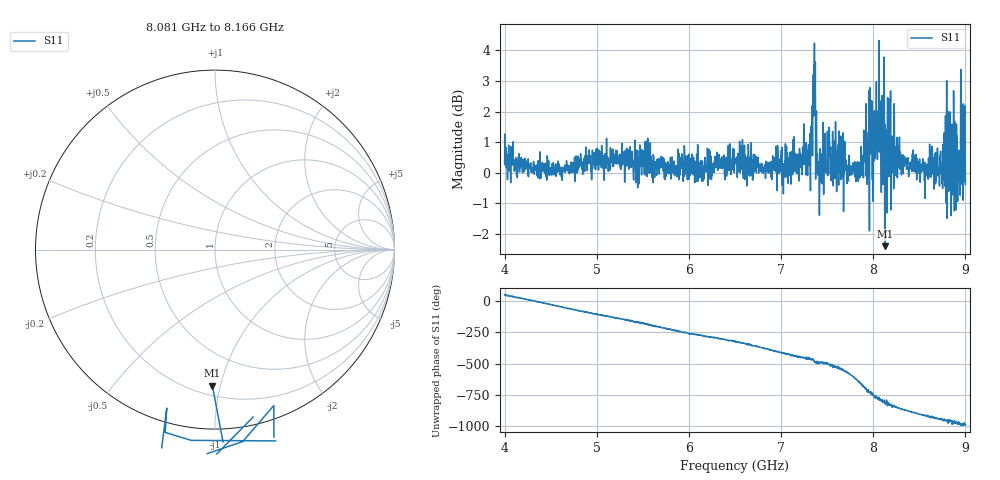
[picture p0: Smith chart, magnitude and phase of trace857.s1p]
! Created with skrf 1.8.0 (http://scikit-rf.org).
# Hz S RI R 50.0
!freq ReS11 ImS11
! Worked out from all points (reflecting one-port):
!   1601 points, 4 GHz to 9 GHz, reference 50 ohm
!   lowest |S11| = -2.4 dB at 8.125 GHz (marker M1), VSWR 7.26, Z = 13.3 - j47.3 ohm
!   phase of S11 starts at 54 deg and turns -1046 deg over the sweep
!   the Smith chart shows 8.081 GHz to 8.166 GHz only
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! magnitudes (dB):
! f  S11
! 4 GHz  0.3
! 4.625 GHz  -0.3
! 5.25 GHz  0.4
! 5.875 GHz  0.2
! 6.5 GHz  0.4
! 7.125 GHz  -0.1
! 7.294 GHz  0.7
! 7.316 GHz  0.4
! 7.347 GHz  2.6
! 7.359 GHz  3.2
! 7.372 GHz  3.6
! 7.4 GHz  -0.1
! 7.425 GHz  0.8
! 7.512 GHz  1.1
! 7.609 GHz  0.7
! 7.65 GHz  1.2
! 7.75 GHz  0.2
! 7.869 GHz  0.9
! 8.056 GHz  1.0
! 8.125 GHz  -2.4
! 8.162 GHz  1.3
! 8.197 GHz  0.8
! 8.375 GHz  0.5
! 8.728 GHz  0.4
! 8.816 GHz  -0.6
! 8.919 GHz  0.2
! 8.972 GHz  0.7
! 9 GHz  -0.4
